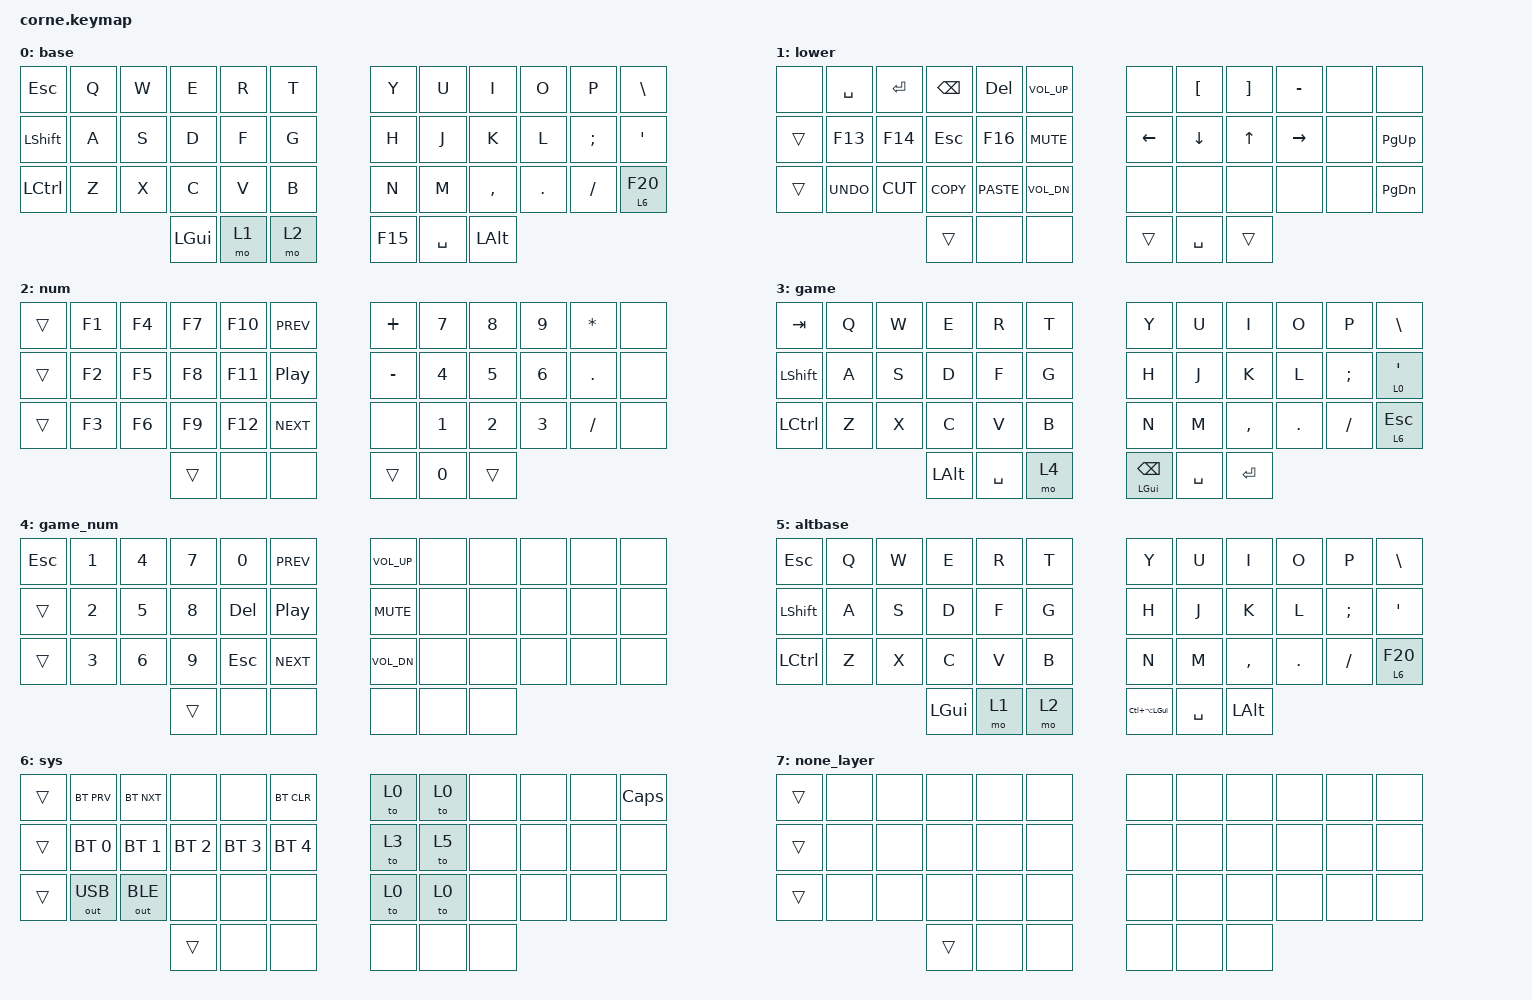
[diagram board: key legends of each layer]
/*
 * Copyright (c) 2020 The ZMK Contributors
 *
 * SPDX-License-Identifier: MIT
 */

#include <behaviors.dtsi>
#include <dt-bindings/zmk/bt.h>
#include <dt-bindings/zmk/keys.h>
#include <dt-bindings/zmk/outputs.h>

#define _DEFAULT 0
#define _BACKUP 1
#define _MAC 2
#define _FANCY_GAME 3
#define _GAME_NUM 4
#define _LOWER 5
#define _LOWER_MAC 6
#define _NUM 7
#define _SYS 8
#define none_layer 15

/ {
    combos {
        compatible = "zmk,combos";

        cmb_enter {
            bindings = <&kp ENTER>;
            key-positions = <20 21>;
            require-prior-idle-ms = <100>;
        };

        cmb_tab {
            bindings = <&kp TAB>;
            key-positions = <14 15>;
            layers = <5 0>;
            require-prior-idle-ms = <125>;
        };

        cmb_bksp {
            bindings = <&kp BACKSPACE>;
            key-positions = <19 20>;
            layers = <3 4 5 0>;
            require-prior-idle-ms = <100>;
        };

        cmb_delete {
            bindings = <&kp DELETE>;
            key-positions = <20 19>;
            layers = <1>;
            require-prior-idle-ms = <125>;
        };

        cmb_lbkt {
            bindings = <&kp LBKT>;
            key-positions = <2 3>;
            layers = <1>;
            require-prior-idle-ms = <125>;
        };

        cmb_rbkt {
            bindings = <&kp RBKT>;
            key-positions = <3 4>;
            layers = <1>;
            require-prior-idle-ms = <125>;
        };

        cmb_lpar {
            bindings = <&kp LPAR>;
            key-positions = <14 15>;
            layers = <1>;
            require-prior-idle-ms = <125>;
        };

        cmb_rpar {
            bindings = <&kp RPAR>;
            key-positions = <15 16>;
            layers = <1>;
            require-prior-idle-ms = <125>;
        };

        cmb_lbrc {
            bindings = <&kp LBRC>;
            key-positions = <26 27>;
            layers = <1>;
            require-prior-idle-ms = <125>;
        };

        cmb_rbrc {
            bindings = <&kp RBRC>;
            key-positions = <27 28>;
            layers = <1>;
            require-prior-idle-ms = <125>;
        };

        cmb_lt {
            bindings = <&kp LT>;
            key-positions = <30 31>;
            layers = <1>;
            require-prior-idle-ms = <125>;
        };

        cmb_gt {
            bindings = <&kp GT>;
            key-positions = <31 32>;
            layers = <1>;
            require-prior-idle-ms = <125>;
        };

        cmb_grave {
            bindings = <&kp GRAVE>;
            key-positions = <7 8>;
            layers = <1>;
            require-prior-idle-ms = <125>;
        };

        cmb_equals {
            bindings = <&kp EQUAL>;
            key-positions = <9 8>;
            layers = <1>;
            require-prior-idle-ms = <125>;
        };

        cmb_linestart {
            bindings = <&kp HOME>;
            key-positions = <19 18>;
            layers = <1>;
            require-prior-idle-ms = <125>;
        };

        cmb_lineend {
            bindings = <&kp END>;
            key-positions = <22 21>;
            layers = <1>;
            require-prior-idle-ms = <125>;
        };
    };

    keymap {
        compatible = "zmk,keymap";

        base {
            bindings = <
&kp ESCAPE  &kp Q  &kp W  &kp E         &kp R  &kp T    &kp Y    &kp U      &kp I         &kp O    &kp P     &kp BSLH
&kp LSHFT   &kp A  &kp S  &kp D         &kp F  &kp G    &kp H    &kp J      &kp K         &kp L    &kp SEMI  &kp SQT
&kp LCTRL   &kp Z  &kp X  &kp C         &kp V  &kp B    &kp N    &kp M      &kp COMMA     &kp DOT  &kp FSLH  &lt 6 F20
                          &kp LEFT_GUI  &mo 1  &mo 2    &kp F15  &kp SPACE  &kp LEFT_ALT
            >;
        };

        lower {
            bindings = <
&none   &kp SPACE   &kp RET    &kp BSPC    &kp DEL      &kp C_VOL_UP    &none     &kp LEFT_BRACKET  &kp RIGHT_BRACKET  &kp MINUS  &none  &none
&trans  &kp F13     &kp F14    &kp ESCAPE  &kp F16      &kp C_MUTE      &kp LEFT  &kp DOWN          &kp UP             &kp RIGHT  &none  &kp PG_UP
&trans  &kp K_UNDO  &kp K_CUT  &kp K_COPY  &kp K_PASTE  &kp C_VOL_DN    &none     &none             &none              &none      &none  &kp PG_DN
                               &trans      &none        &none           &trans    &kp SPACE         &trans
            >;
        };

        num {
            bindings = <
&trans  &kp F1  &kp F4  &kp F7  &kp F10  &kp C_PREV    &kp PLUS   &kp N7  &kp N8  &kp N9  &kp STAR  &none
&trans  &kp F2  &kp F5  &kp F8  &kp F11  &kp C_PP      &kp MINUS  &kp N4  &kp N5  &kp N6  &kp DOT   &none
&trans  &kp F3  &kp F6  &kp F9  &kp F12  &kp C_NEXT    &none      &kp N1  &kp N2  &kp N3  &kp FSLH  &none
                        &trans  &none    &none         &trans     &kp N0  &trans
            >;
        };

        game {
            bindings = <
&kp TAB    &kp Q  &kp W  &kp E     &kp R      &kp T    &kp Y          &kp U      &kp I      &kp O    &kp P     &kp BSLH
&kp LSHFT  &kp A  &kp S  &kp D     &kp F      &kp G    &kp H          &kp J      &kp K      &kp L    &kp SEMI  &lt 0 SQT
&kp LCTRL  &kp Z  &kp X  &kp C     &kp V      &kp B    &kp N          &kp M      &kp COMMA  &kp DOT  &kp FSLH  &lt 6 ESC
                         &kp LALT  &kp SPACE  &mo 4    &mt LGUI BSPC  &kp SPACE  &kp RET
            >;
        };

        game_num {
            bindings = <
&kp ESC  &kp N1  &kp N4  &kp N7  &kp N0   &kp C_PREV    &kp C_VOL_UP  &none  &none  &none  &none  &none
&trans   &kp N2  &kp N5  &kp N8  &kp DEL  &kp C_PP      &kp C_MUTE    &none  &none  &none  &none  &none
&trans   &kp N3  &kp N6  &kp N9  &kp ESC  &kp C_NEXT    &kp C_VOL_DN  &none  &none  &none  &none  &none
                         &trans  &none    &none         &none         &none  &none
            >;
        };

        altbase {
            bindings = <
&kp ESCAPE  &kp Q  &kp W  &kp E         &kp R  &kp T    &kp Y                 &kp U      &kp I         &kp O    &kp P     &kp BSLH
&kp LSHFT   &kp A  &kp S  &kp D         &kp F  &kp G    &kp H                 &kp J      &kp K         &kp L    &kp SEMI  &kp SQT
&kp LCTRL   &kp Z  &kp X  &kp C         &kp V  &kp B    &kp N                 &kp M      &kp COMMA     &kp DOT  &kp FSLH  &lt 6 F20
                          &kp LEFT_GUI  &mo 1  &mo 2    &kp LC(LA(LEFT_GUI))  &kp SPACE  &kp LEFT_ALT
            >;
        };

        sys {
            bindings = <
&trans  &bt BT_PRV    &bt BT_NXT    &none         &none         &bt BT_CLR      &to 0  &to 0  &none  &none  &none  &kp CAPSLOCK
&trans  &bt BT_SEL 0  &bt BT_SEL 1  &bt BT_SEL 2  &bt BT_SEL 3  &bt BT_SEL 4    &to 3  &to 5  &none  &none  &none  &none
&trans  &out OUT_USB  &out OUT_BLE  &none         &none         &none           &to 0  &to 0  &none  &none  &none  &none
                                    &trans        &none         &none           &none  &none  &none
            >;
        };

        none_layer {
            bindings = <
&trans  &none  &none  &none   &none  &none    &none  &none  &none  &none  &none  &none
&trans  &none  &none  &none   &none  &none    &none  &none  &none  &none  &none  &none
&trans  &none  &none  &none   &none  &none    &none  &none  &none  &none  &none  &none
                      &trans  &none  &none    &none  &none  &none
            >;
        };
    };
};
